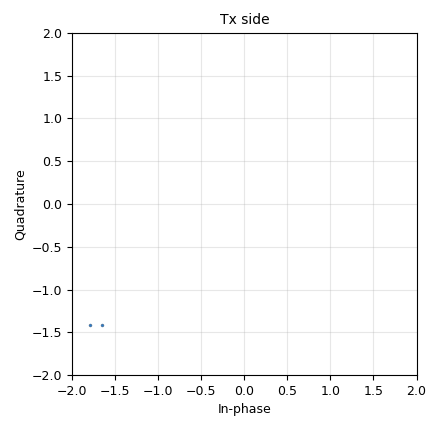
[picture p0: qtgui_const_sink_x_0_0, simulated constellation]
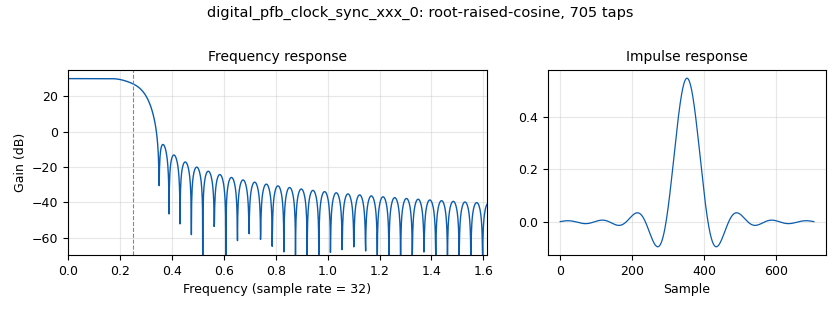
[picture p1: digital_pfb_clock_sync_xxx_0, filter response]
options:
  parameters:
    author: yabool2001
    copyright: mzemlo.pl@gmail.com
    description: QPSK demonstration test w. adalm-pluto
    generate_options: qt_gui
    id: QPSK_test_04
    output_language: python
    title: QPSK test 04 adalm-pluto
  states: {}

blocks:
- name: const_obj
  id: variable_constellation
  parameters:
    precision: '8'
    type: qpsk
  states: {}
- name: f_o
  id: variable
  parameters:
    value: '820000000'
  states: {}
- name: nfilts
  id: variable
  parameters:
    value: '32'
  states: {}
- name: samp_rate
  id: variable
  parameters:
    value: '65105'
  states: {}
- name: sps
  id: variable
  parameters:
    value: '2'
  states: {}
- name: blocks_message_strobe_1
  id: blocks_message_strobe
  parameters:
    msg: pmt.cons ( pmt.PMT_NIL , pmt.make_u8vector ( 1 , 0x01 ) )
    period: '1000'
  states: {}
- name: blocks_pack_k_bits_bb_0
  id: blocks_pack_k_bits_bb
  parameters:
    k: '2'
  states: {state: disabled}
- name: blocks_repack_bits_bb_0
  id: blocks_repack_bits_bb
  parameters:
    endianness: gr.GR_LSB_FIRST
    k: '8'
    l: '2'
    len_tag_key: packet_len
  states: {}
- name: blocks_repack_bits_bb_1
  id: blocks_repack_bits_bb
  parameters:
    endianness: gr.GR_LSB_FIRST
    k: '2'
    l: '8'
    len_tag_key: ''
  states: {}
- name: digital_constellation_decoder_cb_1_0
  id: digital_constellation_decoder_cb
  parameters:
    constellation: const_obj
  states: {}
- name: digital_constellation_modulator_0
  id: digital_constellation_modulator
  parameters:
    constellation: const_obj
    differential: 'False'
    excess_bw: '0.35'
    log: 'True'
    samples_per_symbol: sps
    verbose: 'True'
  states: {}
- name: digital_pfb_clock_sync_xxx_0
  id: digital_pfb_clock_sync_xxx
  parameters:
    filter_size: '32'
    init_phase: '16'
    loop_bw: '0.0628'
    max_dev: '1.5'
    osps: '1'
    sps: sps
    taps: firdes.root_raised_cosine(nfilts, nfilts, 1.0/float(sps), 0.35, 11*sps*nfilts)
    type: ccf
  states: {}
- name: epy_block_0_0
  id: epy_block
  parameters:
    _source_code: |
      from gnuradio import gr
      import numpy as np
      import time
      import os

      class complex_sps_file_sink(gr.sync_block):
          def __init__(self, samp_rate=32000, sps=2, filename="complex_log.csv"):
              gr.sync_block.__init__(self,
                  name="Complex Sps File Sink",
                  in_sig=[np.complex64],
                  out_sig=None)
              self.filename = filename
              self.samp_rate = samp_rate
              self.sps = sps
              self.start_time = time.time()
              self.sample_index = 0  # licznik próbek

              file_exists = os.path.isfile(filename)
              self.f = open(filename, "w", encoding="utf-8")

              if not file_exists or os.stat(filename).st_size == 0:
                  self.f.write("timestamp;real;imag;symbol_index;samp_rate\n")

          def work(self, input_items, output_items):
              elapsed = time.time() - self.start_time
              for c in input_items[0]:
                  timestamp = elapsed
                  ts = f"{timestamp:.6f}".replace('.', ',')
                  re = f"{c.real:.6f}".replace('.', ',')
                  im = f"{c.imag:.6f}".replace('.', ',')
                  symbol_idx = str(self.sample_index // self.sps)
                  sr = f"{self.samp_rate:.0f}".replace('.', ',')

                  self.f.write(f"{ts};{re};{im};{symbol_idx};{sr}\n")

                  elapsed += 1 / self.samp_rate
                  self.sample_index += 1

              self.f.flush()
              return len(input_items[0])
    filename: '"complex_tx_qpsk_mod_log.csv"'
    samp_rate: samp_rate
    sps: sps
  states: {}
- name: epy_block_1
  id: epy_block
  parameters:
    _source_code: |
      from gnuradio import gr
      import numpy as np
      import time
      import os

      class byte_logger(gr.sync_block):
          def __init__(self, samp_rate=32000, filename="byte_log.csv"):
              gr.sync_block.__init__(self,
                  name="BYTE FILE SINK",
                  in_sig=[np.uint8],
                  out_sig=None)
              self.filename = filename
              self.samp_rate = samp_rate
              self.start_time = time.time()

              file_exists = os.path.isfile(filename)
              self.f = open(filename, "w", encoding="utf-8")

              if not file_exists or os.stat(filename).st_size == 0:
                  self.f.write("timestamp;byte;samp_rate\n")

          def work(self, input_items, output_items):
              current_time = time.time()
              elapsed = current_time - self.start_time

              for i, b in enumerate(input_items[0]):
                  timestamp = elapsed + (i / self.samp_rate)
                  ts = f"{timestamp:.6f}".replace('.', ',')
                  val = str(b)
                  sr = f"{self.samp_rate:.0f}".replace('.', ',')
                  self.f.write(f"{ts};{val};{sr}\n")

              self.f.flush()
              return len(input_items[0])
    filename: '"byte_tx_qpsk_mod_log.csv"'
    samp_rate: samp_rate
  states: {}
- name: epy_block_1_0
  id: epy_block
  parameters:
    _source_code: |
      from gnuradio import gr
      import numpy as np
      import time
      import os

      class byte_logger(gr.sync_block):
          def __init__(self, samp_rate=32000, filename="byte_log.csv"):
              gr.sync_block.__init__(self,
                  name="BYTE FILE SINK",
                  in_sig=[np.uint8],
                  out_sig=None)
              self.filename = filename
              self.samp_rate = samp_rate
              self.start_time = time.time()

              file_exists = os.path.isfile(filename)
              self.f = open(filename, "w", encoding="utf-8")

              if not file_exists or os.stat(filename).st_size == 0:
                  self.f.write("timestamp;byte;samp_rate\n")

          def work(self, input_items, output_items):
              current_time = time.time()
              elapsed = current_time - self.start_time

              for i, b in enumerate(input_items[0]):
                  timestamp = elapsed + (i / self.samp_rate)
                  ts = f"{timestamp:.6f}".replace('.', ',')
                  val = str(b)
                  sr = f"{self.samp_rate:.0f}".replace('.', ',')
                  self.f.write(f"{ts};{val};{sr}\n")

              self.f.flush()
              return len(input_items[0])
    filename: '"byte_rx_qpsk_mod_log.csv"'
    samp_rate: samp_rate
  states: {}
- name: iio_pluto_sink_0
  id: iio_pluto_sink
  parameters:
    attenuation1: '1'
    bandwidth: '20000000'
    buffer_size: '32768'
    cyclic: 'False'
    filter_source: '''Auto'''
    frequency: f_o
    samplerate: samp_rate
    type: fc32
    uri: 192.168.2.1
  states: {}
- name: iio_pluto_source_0
  id: iio_pluto_source
  parameters:
    bandwidth: '20000000'
    bbdc: 'True'
    buffer_size: '32768'
    filter_source: '''Auto'''
    frequency: f_o
    gain1: '''fast_attack'''
    quadrature: 'True'
    rfdc: 'True'
    samplerate: samp_rate
    type: fc32
    uri: 192.168.2.1
  states: {}
- name: pdu_pdu_to_tagged_stream_0
  id: pdu_pdu_to_tagged_stream
  parameters:
    tag: packet_len
    type: byte
  states: {}
- name: qtgui_const_sink_x_0_0
  id: qtgui_const_sink_x
  parameters:
    name: '"Tx side"'
    size: sps
    type: complex
  states: {}
- name: qtgui_const_sink_x_0_0_0
  id: qtgui_const_sink_x
  parameters:
    name: '"Rx side"'
    size: sps
    type: complex
  states: {}
- name: qtgui_time_sink_x_0_0
  id: qtgui_time_sink_x
  parameters:
    name: '"Tx side"'
    size: 4*sps
    srate: samp_rate
    type: complex
    ymax: '2'
    ymin: '-2'
  states: {state: disabled}

connections:
- [blocks_message_strobe_1, strobe, pdu_pdu_to_tagged_stream_0, pdus]
- [blocks_repack_bits_bb_0, '0', digital_constellation_modulator_0, '0']
- [blocks_repack_bits_bb_1, '0', epy_block_1_0, '0']
- [digital_constellation_decoder_cb_1_0, '0', blocks_repack_bits_bb_1, '0']
- [digital_constellation_modulator_0, '0', epy_block_0_0, '0']
- [digital_constellation_modulator_0, '0', iio_pluto_sink_0, '0']
- [digital_constellation_modulator_0, '0', qtgui_const_sink_x_0_0, '0']
- [digital_constellation_modulator_0, '0', qtgui_time_sink_x_0_0, '0']
- [digital_pfb_clock_sync_xxx_0, '0', digital_constellation_decoder_cb_1_0, '0']
- [iio_pluto_source_0, '0', digital_pfb_clock_sync_xxx_0, '0']
- [iio_pluto_source_0, '0', qtgui_const_sink_x_0_0_0, '0']
- [pdu_pdu_to_tagged_stream_0, '0', blocks_repack_bits_bb_0, '0']
- [pdu_pdu_to_tagged_stream_0, '0', epy_block_1, '0']

metadata:
  file_format: 1
  grc_version: 3.10.12.0
